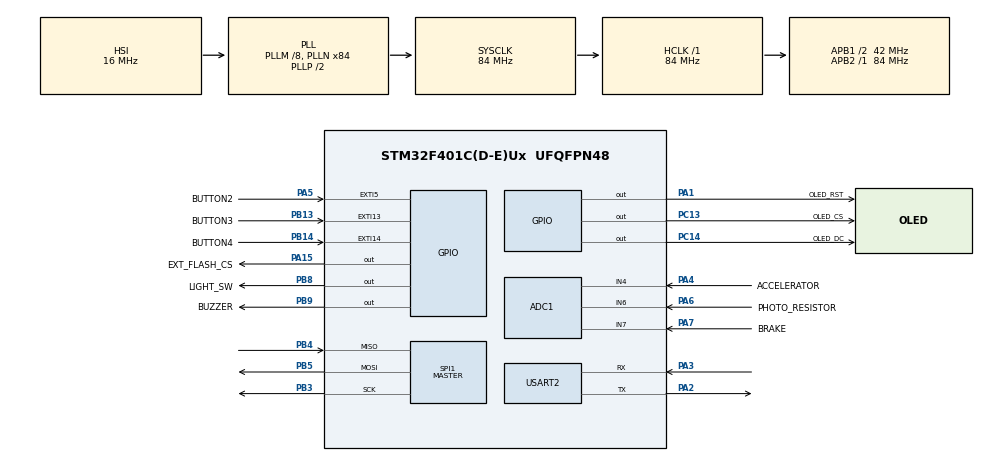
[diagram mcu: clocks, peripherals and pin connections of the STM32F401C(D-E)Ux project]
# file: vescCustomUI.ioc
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ADC1.Channel-2\#ChannelRegularConversion=ADC_CHANNEL_6
ADC1.DMAContinuousRequests=ENABLE
ADC1.NbrOfConversion=1
ADC1.NbrOfConversionFlag=1
ADC1.Rank-2\#ChannelRegularConversion=1
ADC1.SamplingTime-2\#ChannelRegularConversion=ADC_SAMPLETIME_3CYCLES
ADC1.master=1
Dma.ADC1.0.Direction=DMA_PERIPH_TO_MEMORY
Dma.ADC1.0.FIFOMode=DMA_FIFOMODE_DISABLE
Dma.ADC1.0.Instance=DMA2_Stream0
Dma.ADC1.0.MemDataAlignment=DMA_MDATAALIGN_WORD
Dma.ADC1.0.MemInc=DMA_MINC_ENABLE
Dma.ADC1.0.Mode=DMA_NORMAL
Dma.ADC1.0.PeriphDataAlignment=DMA_PDATAALIGN_WORD
Dma.ADC1.0.PeriphInc=DMA_PINC_DISABLE
Dma.ADC1.0.Priority=DMA_PRIORITY_LOW
Dma.Request0=ADC1
FREERTOS.HEAP_NUMBER=4
FREERTOS.INCLUDE_pcTaskGetTaskName=1
FREERTOS.INCLUDE_uxTaskGetStackHighWaterMark2=1
FREERTOS.INCLUDE_xEventGroupSetBitFromISR=1
FREERTOS.INCLUDE_xTaskGetCurrentTaskHandle=1
FREERTOS.INCLUDE_xTaskGetHandle=1
FREERTOS.Queues01=ESCRealTimeDataQ,1,mc_values,0,Dynamic,NULL,NULL;ESCMotorConfigQ,1,mc_configuration,0,Dynamic,NULL,NULL
FREERTOS.Tasks01=defaultTask,24,128,StartDefaultTask,Default,NULL,Dynamic,NULL,NULL;UartTimer,8,128,uart_timer,As external,NULL,Dynamic,NULL,NULL;UartPktProc,8,1024,uart_packet_process,As external,NULL,Dynamic,NULL,NULL;TouchGFXTask,8,1024,TouchGFX_Task,As external,NULL,Dynamic,NULL,NULL
FREERTOS.configCHECK_FOR_STACK_OVERFLOW=0
FREERTOS.configENABLE_FPU=1
FREERTOS.configGENERATE_RUN_TIME_STATS=1
FREERTOS.configRECORD_STACK_HIGH_ADDRESS=1
FREERTOS.configTOTAL_HEAP_SIZE=20480
FREERTOS.configUSE_NEWLIB_REENTRANT=1
FREERTOS.configUSE_POSIX_ERRNO=1
FREERTOS.configUSE_STATS_FORMATTING_FUNCTIONS=1
Mcu.Family=STM32F4
Mcu.Name=STM32F401C(D-E)Ux
Mcu.Package=UFQFPN48
NVIC.ADC_IRQn=true\:5\:0\:false\:false\:true\:true\:true\:true
NVIC.DMA2_Stream0_IRQn=true\:5\:0\:false\:false\:true\:true\:false\:true
NVIC.PriorityGroup=NVIC_PRIORITYGROUP_4
NVIC.TIM1_TRG_COM_TIM11_IRQn=true\:15\:0\:false\:false\:true\:false\:false\:true
NVIC.TimeBase=TIM1_TRG_COM_TIM11_IRQn
NVIC.TimeBaseIP=TIM11
NVIC.USART2_IRQn=true\:5\:0\:true\:false\:true\:false\:true\:true
PA0-WKUP.GPIO_Label=WKUP_BUTTON
PA0-WKUP.Mode=SYS_WakeUp0
PA0-WKUP.Signal=SYS_WKUP
PA1.GPIO_Label=OLED_RST
PA1.GPIO_Speed=GPIO_SPEED_FREQ_VERY_HIGH
PA1.Signal=GPIO_Output
PA13.Mode=Serial_Wire
PA13.Signal=SYS_JTMS-SWDIO
PA14.Mode=Serial_Wire
PA14.Signal=SYS_JTCK-SWCLK
PA15.GPIO_Label=EXT_FLASH_CS
PA15.GPIO_Speed=GPIO_SPEED_FREQ_VERY_HIGH
PA15.PinState=GPIO_PIN_SET
PA15.Signal=GPIO_Output
PA2.Mode=Asynchronous
PA2.Signal=USART2_TX
PA3.Mode=Asynchronous
PA3.Signal=USART2_RX
PA4.GPIO_Label=ACCELERATOR
PA4.Signal=ADCx_IN4
PA5.GPIO_Label=BUTTON2
PA5.GPIO_PuPd=GPIO_PULLUP
PA5.Signal=GPXTI5
PA6.GPIO_Label=PHOTO_RESISTOR
PA6.GPIO_Mode=GPIO_MODE_ANALOG
PA6.Signal=ADCx_IN6
PA7.GPIO_Label=BRAKE
PA7.Signal=ADCx_IN7
PB13.GPIO_Label=BUTTON3
PB13.GPIO_ModeDefaultEXTI=GPIO_MODE_IT_FALLING
PB13.GPIO_PuPd=GPIO_PULLUP
PB13.Signal=GPXTI13
PB14.GPIO_Label=BUTTON4
PB14.GPIO_ModeDefaultEXTI=GPIO_MODE_IT_FALLING
PB14.GPIO_PuPd=GPIO_PULLUP
PB14.Signal=GPXTI14
PB3.GPIO_Speed=GPIO_SPEED_FREQ_VERY_HIGH
PB3.Mode=Full_Duplex_Master
PB3.Signal=SPI1_SCK
PB4.GPIO_Speed=GPIO_SPEED_FREQ_VERY_HIGH
PB4.Mode=Full_Duplex_Master
PB4.Signal=SPI1_MISO
PB5.GPIO_Speed=GPIO_SPEED_FREQ_VERY_HIGH
PB5.Mode=Full_Duplex_Master
PB5.Signal=SPI1_MOSI
PB8.GPIO_Label=LIGHT_SW
PB8.PinState=GPIO_PIN_SET
PB8.Signal=GPIO_Output
PB9.GPIO_Label=BUZZER
PB9.PinState=GPIO_PIN_SET
PB9.Signal=GPIO_Output
PC13-ANTI_TAMP.GPIO_Label=OLED_CS
PC13-ANTI_TAMP.Signal=GPIO_Output
PC14-OSC32_IN.GPIO_Label=OLED_DC
PC14-OSC32_IN.Signal=GPIO_Output
ProjectManager.HeapSize=0x200
ProjectManager.StackSize=0x400
ProjectManager.TargetToolchain=STM32CubeIDE
RCC.48MHZClocksFreq_Value=56000000
RCC.AHBFreq_Value=84000000
RCC.APB1CLKDivider=RCC_HCLK_DIV2
RCC.APB1Freq_Value=42000000
RCC.APB1TimFreq_Value=84000000
RCC.APB2Freq_Value=84000000
RCC.APB2TimFreq_Value=84000000
RCC.CortexFreq_Value=84000000
RCC.HCLKFreq_Value=84000000
RCC.HSE_VALUE=16000000
RCC.HSI_VALUE=16000000
RCC.LSE_VALUE=32768
RCC.PLLM=8
RCC.PLLN=84
RCC.PLLQ=3
RCC.SYSCLKFreq_VALUE=84000000
RCC.SYSCLKSource=RCC_SYSCLKSOURCE_PLLCLK
RCC.VCOOutputFreq_Value=168000000
RTC.Format=RTC_FORMAT_BCD
SH.ADCx_IN4.0=ADC1_IN4,IN4
SH.ADCx_IN6.0=ADC1_IN6,IN6
SH.ADCx_IN7.0=ADC1_IN7,IN7
SPI1.BaudRatePrescaler=SPI_BAUDRATEPRESCALER_8
SPI1.CLKPhase=SPI_PHASE_1EDGE
SPI1.CLKPolarity=SPI_POLARITY_LOW
SPI1.DataSize=SPI_DATASIZE_8BIT
SPI1.Direction=SPI_DIRECTION_2LINES
SPI1.Mode=SPI_MODE_MASTER
SPI1.VirtualType=VM_MASTER
STMicroelectronics.X-CUBE-TOUCHGFX.4.21.1.ApplicationCcGraphicsJjApplication=TouchGFXOoGenerator
STMicroelectronics.X-CUBE-TOUCHGFX.4.21.1.tgfx_address1=0
STMicroelectronics.X-CUBE-TOUCHGFX.4.21.1.tgfx_custom_height=128
STMicroelectronics.X-CUBE-TOUCHGFX.4.21.1.tgfx_custom_width=128
STMicroelectronics.X-CUBE-TOUCHGFX.4.21.1.tgfx_hardware_accelerator=dma_none
STMicroelectronics.X-CUBE-TOUCHGFX.4.21.1.tgfx_location=By Address
STMicroelectronics.X-CUBE-TOUCHGFX.4.21.1_IsPackSelfContextualization=true
USART2.VirtualMode=VM_ASYNC
VP_ADC1_TempSens_Input.Mode=IN-TempSens
VP_CRC_VS_CRC.Mode=CRC_Activate
VP_FREERTOS_VS_CMSIS_V2.Mode=CMSIS_V2
VP_RTC_VS_RTC_Activate.Mode=RTC_Enabled
VP_RTC_VS_RTC_Calendar.Mode=RTC_Calendar
VP_STMicroelectronics.X-CUBE-TOUCHGFX_VS_GraphicsJjApplication_4.21.1.Mode=GraphicsJjApplication
VP_SYS_VS_tim11.Mode=TIM11
board=custom

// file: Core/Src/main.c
/* USER CODE BEGIN Header */
/**
  ******************************************************************************
  * @file           : main.c
  * @brief          : Main program body
  ******************************************************************************
  * @attention
  *
  * <h2><center>&copy; Copyright (c) 2020 STMicroelectronics.
  * All rights reserved.</center></h2>
  *
  * This software component is licensed by ST under Ultimate Liberty license
  * SLA0044, the "License"; You may not use this file except in compliance with
  * the License. You may obtain a copy of the License at:
  *                             www.st.com/SLA0044
  *
  ******************************************************************************
  */
/* USER CODE END Header */
#include "main.h"
#include "cmsis_os.h"
#include "adc.h"
#include "crc.h"
#include "dma.h"
#include "rtc.h"
#include "spi.h"
#include "usart.h"
#include "gpio.h"
#include "app_touchgfx.h"

/* USER CODE BEGIN Includes */
#include <stm32f4xx_hal.h>
#include <vescLib/comm_uart.h>
#include <vescLib/datatypes.h>
#include <vescLib/bldc_interface.h>
#include <string.h>
#include <stdio.h>
#include <userInterface.h>
/* USER CODE END Includes */

void SystemClock_Config(void);
void MX_FREERTOS_Init(void);

int main(void)
{

  /* MCU Configuration--------------------------------------------------------*/

  /* Reset of all peripherals, Initializes the Flash interface and the Systick. */
  HAL_Init();

  /* Configure the system clock */
  SystemClock_Config();

  /* USER CODE BEGIN SysInit */
  //HAL_PWR_EnterSTANDBYMode();

  /* USER CODE END SysInit */

  /* Initialize all configured peripherals */
  MX_GPIO_Init();
  MX_DMA_Init();
  MX_SPI1_Init();
  MX_USART2_UART_Init();
  MX_ADC1_Init();
  MX_CRC_Init();
  MX_RTC_Init();
  MX_TouchGFX_Init();

  /* Init scheduler */
  osKernelInitialize();  /* Call init function for freertos objects (in freertos.c) */
  MX_FREERTOS_Init();
  /* Start scheduler */
  osKernelStart();

  /* We should never get here as control is now taken by the scheduler */
  /* Infinite loop */
  while (1)
  {

  }
}

void SystemClock_Config(void)
{
  RCC_OscInitTypeDef RCC_OscInitStruct = {0};
  RCC_ClkInitTypeDef RCC_ClkInitStruct = {0};

  /** Configure the main internal regulator output voltage
  */
  __HAL_RCC_PWR_CLK_ENABLE();
  __HAL_PWR_VOLTAGESCALING_CONFIG(PWR_REGULATOR_VOLTAGE_SCALE2);
  /** Initializes the RCC Oscillators according to the specified parameters
  * in the RCC_OscInitTypeDef structure.
  */
  RCC_OscInitStruct.OscillatorType = RCC_OSCILLATORTYPE_HSI|RCC_OSCILLATORTYPE_LSI;
  RCC_OscInitStruct.HSIState = RCC_HSI_ON;
  RCC_OscInitStruct.HSICalibrationValue = RCC_HSICALIBRATION_DEFAULT;
  RCC_OscInitStruct.LSIState = RCC_LSI_ON;
  RCC_OscInitStruct.PLL.PLLState = RCC_PLL_ON;
  RCC_OscInitStruct.PLL.PLLSource = RCC_PLLSOURCE_HSI;
  RCC_OscInitStruct.PLL.PLLM = 8;
  RCC_OscInitStruct.PLL.PLLN = 84;
  RCC_OscInitStruct.PLL.PLLP = RCC_PLLP_DIV2;
  RCC_OscInitStruct.PLL.PLLQ = 3;
  if (HAL_RCC_OscConfig(&RCC_OscInitStruct) != HAL_OK)
  {
    Error_Handler();
  }
  /** Initializes the CPU, AHB and APB buses clocks
  */
  RCC_ClkInitStruct.ClockType = RCC_CLOCKTYPE_HCLK|RCC_CLOCKTYPE_SYSCLK
                              |RCC_CLOCKTYPE_PCLK1|RCC_CLOCKTYPE_PCLK2;
  RCC_ClkInitStruct.SYSCLKSource = RCC_SYSCLKSOURCE_PLLCLK;
  RCC_ClkInitStruct.AHBCLKDivider = RCC_SYSCLK_DIV1;
  RCC_ClkInitStruct.APB1CLKDivider = RCC_HCLK_DIV2;
  RCC_ClkInitStruct.APB2CLKDivider = RCC_HCLK_DIV1;

  if (HAL_RCC_ClockConfig(&RCC_ClkInitStruct, FLASH_LATENCY_2) != HAL_OK)
  {
    Error_Handler();
  }
}

void HAL_TIM_PeriodElapsedCallback(TIM_HandleTypeDef *htim)
{
  if (htim->Instance == TIM11) {
    HAL_IncTick();
  }
}

void Error_Handler(void)
{
}

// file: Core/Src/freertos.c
/* USER CODE BEGIN Header */
/**
  ******************************************************************************
  * File Name          : freertos.c
  * Description        : Code for freertos applications
  ******************************************************************************
  * @attention
  *
  * <h2><center>&copy; Copyright (c) 2020 STMicroelectronics.
  * All rights reserved.</center></h2>
  *
  * This software component is licensed by ST under Ultimate Liberty license
  * SLA0044, the "License"; You may not use this file except in compliance with
  * the License. You may obtain a copy of the License at:
  *                             www.st.com/SLA0044
  *
  ******************************************************************************
  */
/* USER CODE END Header */

#include "FreeRTOS.h"
#include "task.h"
#include "main.h"
#include "cmsis_os.h"

/* USER CODE BEGIN Includes */
#include <vescLib/comm_uart.h>
#include <vescLib/datatypes.h>
#include <vescLib/bldc_interface.h>
#include <string.h>
#include <stdio.h>
#include <userInterface.h>

/* USER CODE END Includes */

/* USER CODE BEGIN PTD */
#ifdef __cplusplus
extern "C" {
#endif
/* USER CODE END PTD */

/* USER CODE BEGIN PD */
static void send_esc_values(mc_values *val);
static void send_motor_configuration(mc_configuration *val);

/* USER CODE END PD */

/* USER CODE BEGIN Variables */
extern UART_HandleTypeDef huart2;
uint8_t _received_char = 0;

/* USER CODE END Variables */
/* Definitions for defaultTask */
osThreadId_t defaultTaskHandle;
const osThreadAttr_t defaultTask_attributes = {
  .name = "defaultTask",
  .stack_size = 128 * 4,
  .priority = (osPriority_t) osPriorityNormal,
};
/* Definitions for UartTimer */
osThreadId_t UartTimerHandle;
const osThreadAttr_t UartTimer_attributes = {
  .name = "UartTimer",
  .stack_size = 128 * 4,
  .priority = (osPriority_t) osPriorityLow,
};
/* Definitions for UartPktProc */
osThreadId_t UartPktProcHandle;
const osThreadAttr_t UartPktProc_attributes = {
  .name = "UartPktProc",
  .stack_size = 1024 * 4,
  .priority = (osPriority_t) osPriorityLow,
};
/* Definitions for TouchGFXTask */
osThreadId_t TouchGFXTaskHandle;
const osThreadAttr_t TouchGFXTask_attributes = {
  .name = "TouchGFXTask",
  .stack_size = 1024 * 4,
  .priority = (osPriority_t) osPriorityLow,
};
/* Definitions for ESCRealTimeDataQ */
osMessageQueueId_t ESCRealTimeDataQHandle;
const osMessageQueueAttr_t ESCRealTimeDataQ_attributes = {
  .name = "ESCRealTimeDataQ"
};
/* Definitions for ESCMotorConfigQ */
osMessageQueueId_t ESCMotorConfigQHandle;
const osMessageQueueAttr_t ESCMotorConfigQ_attributes = {
  .name = "ESCMotorConfigQ"
};

/* USER CODE BEGIN FunctionPrototypes */
extern void rxchar(UART_HandleTypeDef *uartp, uint16_t c);
/* USER CODE END FunctionPrototypes */

void StartDefaultTask(void *argument);
extern void uart_timer(void *argument);
extern void uart_packet_process(void *argument);
extern void TouchGFX_Task(void *argument);

void MX_FREERTOS_Init(void); /* (MISRA C 2004 rule 8.1) */

/* Hook prototypes */
void configureTimerForRunTimeStats(void);
unsigned long getRunTimeCounterValue(void);

/* USER CODE BEGIN 1 */
/* Functions needed when configGENERATE_RUN_TIME_STATS is on */
__weak void configureTimerForRunTimeStats(void)
{

}

__weak unsigned long getRunTimeCounterValue(void)
{
return 0;
}
/* USER CODE END 1 */

void MX_FREERTOS_Init(void) {

  /* Create the queue(s) */
  /* creation of ESCRealTimeDataQ */
  ESCRealTimeDataQHandle = osMessageQueueNew (1, sizeof(mc_values), &ESCRealTimeDataQ_attributes);

  /* creation of ESCMotorConfigQ */
  ESCMotorConfigQHandle = osMessageQueueNew (1, sizeof(mc_configuration), &ESCMotorConfigQ_attributes);

  /* Create the thread(s) */
  /* creation of defaultTask */
  defaultTaskHandle = osThreadNew(StartDefaultTask, NULL, &defaultTask_attributes);

  /* creation of UartTimer */
  UartTimerHandle = osThreadNew(uart_timer, NULL, &UartTimer_attributes);

  /* creation of UartPktProc */
  UartPktProcHandle = osThreadNew(uart_packet_process, NULL, &UartPktProc_attributes);

  /* creation of TouchGFXTask */
  TouchGFXTaskHandle = osThreadNew(TouchGFX_Task, NULL, &TouchGFXTask_attributes);

}

void StartDefaultTask(void *argument)
{
  /* USER CODE BEGIN StartDefaultTask */
  comm_uart_init();

  // Give bldc_interface a function to call when values are received.
  bldc_interface_set_rx_value_func(send_esc_values);
  // Give bldc_interface a function to call when motor configuration is received.
  bldc_interface_set_rx_mcconf_func(send_motor_configuration);

  HAL_UART_Receive_IT(&huart2, &_received_char, 1);

  int sample = 0;

  /* Infinite loop */
  for(;;)
  {
    if (++sample == 4)
    {
      bldc_interface_get_values();
      sample = 0;
    }

    signal_vsync();
    osDelay(60);
  }
  /* USER CODE END StartDefaultTask */
}

/* USER CODE BEGIN Application */
void HAL_UART_RxCpltCallback(UART_HandleTypeDef *huart)
{
  rxchar(&huart2, _received_char);
  HAL_UART_Receive_IT(&huart2, &_received_char, 1);
}

void send_esc_values(mc_values *val)
{
  osMessageQueuePut(ESCRealTimeDataQHandle, val, 0, 0);
//  printf("Input voltage: %.2f V\r\n", val->v_in);
//  printf("Temp:          %.2f degC\r\n", val->temp_mos);
//  printf("Current motor: %.2f A\r\n", val->current_motor);
//  printf("Current in:    %.2f A\r\n", val->current_in);
//  printf("RPM:           %.1f RPM\r\n", val->rpm);
//  printf("Duty cycle:    %.1f %%\r\n", val->duty_now * 100.0);
//  printf("Ah Drawn:      %.4f Ah\r\n", val->amp_hours);
//  printf("Ah Regen:      %.4f Ah\r\n", val->amp_hours_charged);
//  printf("Wh Drawn:      %.4f Wh\r\n", val->watt_hours);
//  printf("Wh Regen:      %.4f Wh\r\n", val->watt_hours_charged);
//  printf("Tacho:         %i counts\r\n", val->tachometer);
//  printf("Tacho ABS:     %i counts\r\n", val->tachometer_abs);
//  printf("Fault Code:    %s\r\n", bldc_interface_fault_to_string(val->fault_code));
}

void send_motor_configuration(mc_configuration *val)
{
  osMessageQueuePut(ESCMotorConfigQHandle, val, 0, 0);
}

#ifdef __cplusplus
}
#endif
/* USER CODE END Application */
